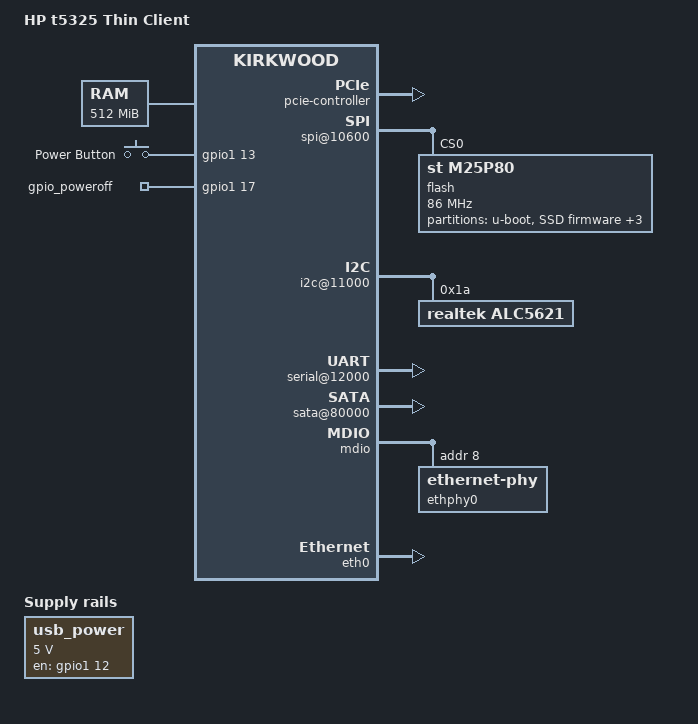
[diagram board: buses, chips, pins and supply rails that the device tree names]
/*
 * Device Tree file for HP t5325 Thin Client"
 *
 * Copyright (C) 2014
 *
 * Thomas Petazzoni <thomas.petazzoni@free-electrons.com>
 * Andrew Lunn <andrew@lunn.ch>
 *
 * This file is licensed under the terms of the GNU General Public
 * License version 2.  This program is licensed "as is" without any
 * warranty of any kind, whether express or implied.
*/

/dts-v1/;

#include "kirkwood.dtsi"
#include "kirkwood-6281.dtsi"

/ {
	model = "HP t5325 Thin Client";
	compatible = "hp,t5325", "marvell,kirkwood-88f6281", "marvell,kirkwood";

	memory {
		device_type = "memory";
		reg = <0x00000000 0x20000000>;
	};

	chosen {
		bootargs = "console=ttyS0,115200n8";
		stdout-path = &uart0;
	};

	mbus {
		pcie-controller {
			status = "okay";

			pcie@1,0 {
				status = "okay";
			};
		};
	};

	ocp@f1000000 {
		pinctrl: pin-controller@10000 {
			pinctrl-0 = <&pmx_i2s &pmx_sysrst>;
			pinctrl-names = "default";

			pmx_button_power: pmx-button_power {
				marvell,pins = "mpp45";
				marvell,function = "gpio";
			};

			pmx_power_off: pmx-power-off {
				marvell,pins = "mpp48";
				marvell,function = "gpio";
			};

			pmx_led: pmx-led {
				marvell,pins = "mpp21";
				marvell,function = "gpio";
			};

			pmx_usb_sata_power_enable: pmx-usb-sata-power-enable {
				marvell,pins = "mpp44";
				marvell,function = "gpio";
			};

			pmx_spi: pmx-spi {
				marvell,pins = "mpp1", "mpp2", "mpp3", "mpp7";
				marvell,function = "spi";
			};

			pmx_sysrst: pmx-sysrst {
				marvell,pins = "mpp6";
				marvell,function = "sysrst";
			};

			pmx_i2s: pmx-i2s {
				marvell,pins = "mpp39", "mpp40", "mpp41", "mpp42",
					       "mpp43";
				marvell,function = "audio";
			};
		};

		spi@10600 {
			status = "okay";

			flash@0 {
				#address-cells = <1>;
				#size-cells = <1>;
				compatible = "st,m25p80", "jedec,spi-nor";
				spi-max-frequency = <86000000>;
				reg = <0>;
				mode = <0>;

				partition@0 {
					reg = <0x0 0x80000>;
					label = "u-boot";
				};

				partition@1 {
					reg = <0x80000 0x40000>;
					label = "SSD firmware";
				};

				partition@2 {
					reg = <0xc0000 0x10000>;
					label = "u-boot env";
				};

				partition@3 {
					reg = <0xd0000 0x10000>;
					label = "permanent u-boot env";
				};

				partition@4 {
					reg = <0xd0000 0x10000>;
					label = "permanent u-boot env";
				};
			};
		};

		i2c@11000 {
			status = "okay";

			alc5621: alc5621@1a {
				compatible = "realtek,alc5621";
				reg = <0x1a>;
				#sound-dai-cells = <0>;
				add-ctrl = <0x3700>;
				jack-det-ctrl = <0x4810>;
			};
		};

		serial@12000 {
			status = "okay";
		};

		sata@80000 {
			status = "okay";
			nr-ports = <2>;
		};

		audio: audio-controller@a0000 {
			status = "okay";
		};
	};

	regulators {
		compatible = "simple-bus";
		#address-cells = <1>;
		#size-cells = <0>;
		pinctrl-0 = <&pmx_usb_sata_power_enable>;
		pinctrl-names = "default";

		usb_power: regulator@1 {
			compatible = "regulator-fixed";
			reg = <1>;
			regulator-name = "USB-SATA Power";
			regulator-min-microvolt = <5000000>;
			regulator-max-microvolt = <5000000>;
			enable-active-high;
			regulator-always-on;
			regulator-boot-on;
			gpio = <&gpio1 12 GPIO_ACTIVE_HIGH>;
		};
	};

	gpio_keys {
		compatible = "gpio-keys";
		#address-cells = <1>;
		#size-cells = <0>;
		pinctrl-0 = <&pmx_button_power>;
		pinctrl-names = "default";

		button@1 {
			label = "Power Button";
			linux,code = <KEY_POWER>;
			gpios = <&gpio1 13 GPIO_ACTIVE_HIGH>;
		};
	};

	gpio_poweroff {
		compatible = "gpio-poweroff";
		pinctrl-0 = <&pmx_power_off>;
		pinctrl-names = "default";
		gpios = <&gpio1 17 GPIO_ACTIVE_HIGH>;
	};

	sound {
		compatible = "simple-audio-card";
		simple-audio-card,format = "i2s";
		simple-audio-card,routing =
			"Headphone Jack", "HPL",
			"Headphone Jack", "HPR",
			"Speaker", "SPKOUT",
			"Speaker", "SPKOUTN",
			"MIC1", "Mic Jack",
			"MIC2", "Mic Jack";
		simple-audio-card,widgets =
			"Headphone", "Headphone Jack",
			"Speaker", "Speaker",
			"Microphone", "Mic Jack";

		simple-audio-card,mclk-fs = <256>;

		simple-audio-card,cpu {
			sound-dai = <&audio>;
		};

		simple-audio-card,codec {
			sound-dai = <&alc5621>;
		};
	};
};

&mdio {
	status = "okay";

	ethphy0: ethernet-phy {
		device_type = "ethernet-phy";
		reg = <8>;
	};
};

&eth0 {
	status = "okay";
	ethernet0-port@0 {
		phy-handle = <&ethphy0>;
	};
};
